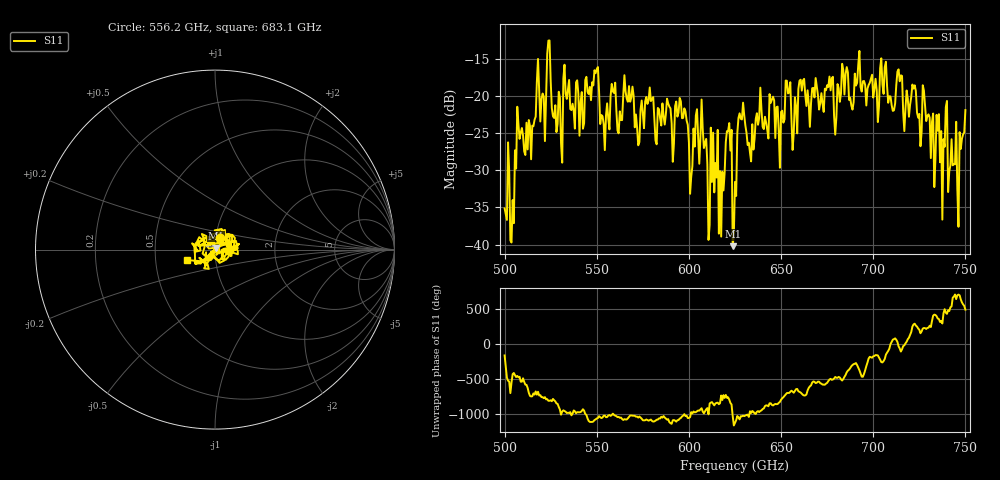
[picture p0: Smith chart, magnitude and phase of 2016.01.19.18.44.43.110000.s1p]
!Created with skrf (http://scikit-rf.org).
# GHz S RI R 50.0
!freq ReS11 ImS11
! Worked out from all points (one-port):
!   401 points, 500 GHz to 750 GHz, reference 50 ohm
!   lowest |S11| = -40.2 dB at 623.8 GHz (marker M1), VSWR 1.02, Z = 50.5 + j0.85 ohm
!   |S11| at or under -10 dB: start of sweep to end of sweep
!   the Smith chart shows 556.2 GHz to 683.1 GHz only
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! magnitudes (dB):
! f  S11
! 500 GHz  -35.1
! 504.4 GHz  -34.0
! 508.1 GHz  -25.8
! 520.6 GHz  -19.7
! 523.8 GHz  -12.6
! 526.9 GHz  -23.0
! 531.2 GHz  -29.0
! 549.4 GHz  -16.9
! 553.1 GHz  -22.7
! 558.8 GHz  -19.4
! 562.5 GHz  -22.1
! 593.8 GHz  -22.8
! 600.6 GHz  -33.2
! 608.1 GHz  -27.0
! 617.5 GHz  -38.9
! 621.9 GHz  -23.7
! 623.8 GHz  -40.2
! 625 GHz  -31.6
! 628.1 GHz  -23.1
! 632.5 GHz  -26.3
! 645 GHz  -20.5
! 650 GHz  -22.1
! 653.8 GHz  -19.7
! 656.2 GHz  -27.3
! 687.5 GHz  -20.2
! 718.8 GHz  -20.3
! 745 GHz  -23.5
! 750 GHz  -21.9
